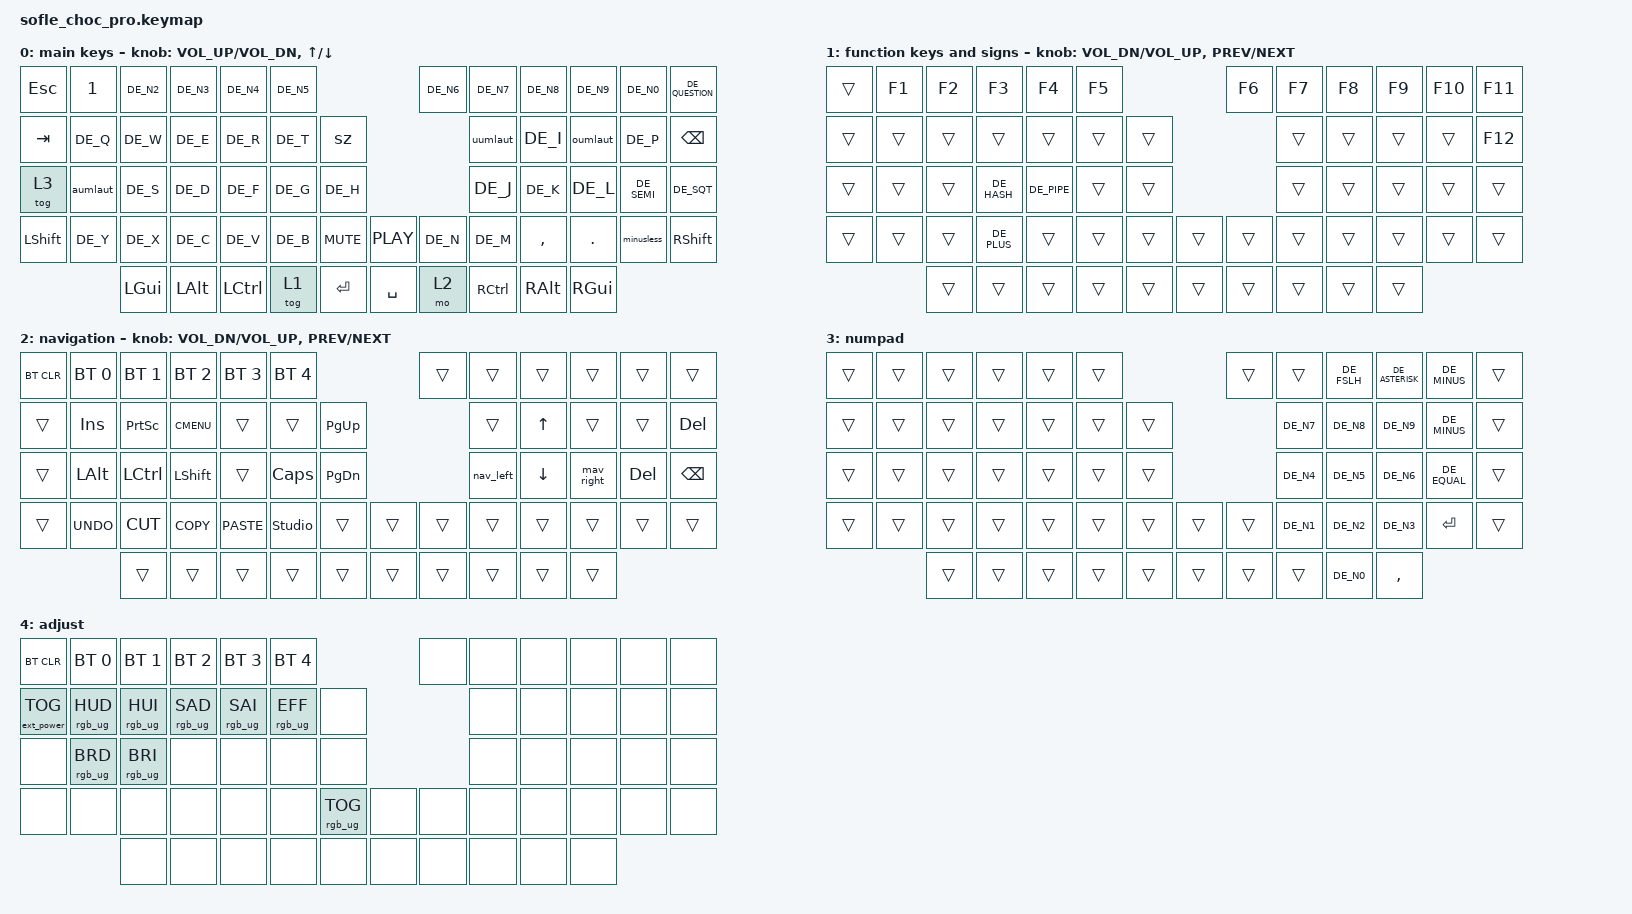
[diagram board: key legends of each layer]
/*
* Copyright (c) 2020 The ZMK Contributors
*
* SPDX-License-Identifier: MIT
*/

#include <behaviors.dtsi>
#include <dt-bindings/zmk/bt.h>
#include <dt-bindings/zmk/ext_power.h>
#include <dt-bindings/zmk/keys.h>
#include <dt-bindings/zmk/rgb.h>
#include "keys_de.h"

#define BASE 0
#define LOWER 1
#define RAISE 2
#define ADJUST 3

/ {
    // Activate ADJUST layer by pressing raise and lower

    conditional_layers {
        compatible = "zmk,conditional-layers";

        adjust_layer {
            if-layers = <1 2>;
            then-layer = <4>;
        };
    };

    behaviors {
        aumlaut: aumlaut {
            compatible = "zmk,behavior-tap-dance";
            label = "AUMLAUT";
            #binding-cells = <0>;
            bindings = <&kp DE_A>, <&kp DE_A_UMLAUT>;

            tapping-term-ms = <150>;
        };

        oumlaut: oumlaut {
            compatible = "zmk,behavior-tap-dance";
            label = "OUMLAUT";
            #binding-cells = <0>;
            bindings = <&kp DE_O>, <&kp DE_O_UMLAUT>;

            tapping-term-ms = <150>;
        };

        uumlaut: uumlaut {
            compatible = "zmk,behavior-tap-dance";
            label = "UUMLAUT";
            #binding-cells = <0>;
            bindings = <&kp DE_U>, <&kp DE_U_UMLAUT>;

            tapping-term-ms = <150>;
        };

        minusless: minusless {
            compatible = "zmk,behavior-tap-dance";
            label = "MINUSLESS";
            #binding-cells = <0>;
            bindings = <&kp DE_MINUS>, <&kp DE_LESS_THAN>;

            tapping-term-ms = <150>;
        };

        nav_left: nav_left {
            compatible = "zmk,behavior-tap-dance";
            label = "NAV_LEFT";
            #binding-cells = <0>;
            bindings =
                <&kp LEFT_ARROW>,
                <&kp LC(LEFT_ARROW)>,
                <&kp LG(LEFT_ARROW)>;

            tapping-term-ms = <150>;
        };

        mav_right: mav_right {
            compatible = "zmk,behavior-tap-dance";
            label = "MAV_RIGHT";
            #binding-cells = <0>;
            bindings =
                <&kp RIGHT_ARROW>,
                <&kp LC(RIGHT_ARROW)>,
                <&kp LG(RIGHT_ARROW)>;

            tapping-term-ms = <150>;
        };

        sz: sz {
            compatible = "zmk,behavior-tap-dance";
            label = "SZ";
            #binding-cells = <0>;
            bindings = <&kp DE_Z>, <&kp DE_SZ>;

            tapping-term-ms = <150>;
        };
    };

    keymap {
        compatible = "zmk,keymap";

        qwertz {
            display-name = "main keys";

            // ------------------------------------------------------------------------------------------------------------
            // |   `   |  1  |  2  |  3   |  4   |  5   |                   |  6   |  7    |  8    |  9   |   0   |   `   |
            // |  ESC  |  Q  |  W  |  E   |  R   |  T   |                   |  Y   |  U    |  I    |  O   |   P   | BKSPC |
            // |  TAB  |  A  |  S  |  D   |  F   |  G   |                   |  H   |  J    |  K    |  L   |   ;   |   '   |
            // | SHIFT |  Z  |  X  |  C   |  V   |  B   |  MUTE  |  | PLAY  |  N   |  M    |  ,    |  .   |   /   | SHIFT |
            //               | GUI | ALT  | CTRL | LOWER|  ENTER |  | SPACE | RAISE| CTRL  | ALT   | GUI  |

            bindings = <
&kp ESCAPE  &kp N1    &kp DE_N2  &kp DE_N3  &kp DE_N4  &kp DE_N5                          &kp DE_N6  &kp DE_N7  &kp DE_N8  &kp DE_N9  &kp DE_N0    &kp DE_QUESTION
&kp TAB     &kp DE_Q  &kp DE_W   &kp DE_E   &kp DE_R   &kp DE_T   &sz                                &uumlaut   &kp DE_I   &oumlaut   &kp DE_P     &kp BSPC
&tog 3      &aumlaut  &kp DE_S   &kp DE_D   &kp DE_F   &kp DE_G   &kp DE_H                           &kp DE_J   &kp DE_K   &kp DE_L   &kp DE_SEMI  &kp DE_SQT
&kp LSHFT   &kp DE_Y  &kp DE_X   &kp DE_C   &kp DE_V   &kp DE_B   &kp C_MUTE  &kp C_PLAY  &kp DE_N   &kp DE_M   &kp COMMA  &kp DOT    &minusless   &kp RSHFT
                      &kp LGUI   &kp LALT   &kp LCTRL  &tog 1     &kp RET     &kp SPACE   &mo 2      &kp RCTRL  &kp RALT   &kp RGUI
            >;

            sensor-bindings =
                <&inc_dec_kp C_VOLUME_UP C_VOL_DN>,
                <&inc_dec_kp UP_ARROW DOWN_ARROW>;
        };

        fnsigns {
            display-name = "function keys and signs";

            // ------------------------------------------------------------------------------------------------------------
            // |       |  F1 |  F2 |  F3  |  F4  |  F5  |                   |  F6  |  F7   |  F8   |  F9  |  F10  |  F11  |
            // |   `   |  1  |  2  |  3   |  4   |  5   |                   |  6   |  7    |  8    |  9   |   0   |  F12  |
            // |       |  !  |  @  |  #   |  $   |  %   |                   |  ^   |  &    |  *    |  (   |   )   |   |   |
            // |       |  =  |  -  |  +   |  {   |  }   |        |  |       |  [   |  ]    |  ;    |  :   |   \   |       |
            //               |     |      |      |      |        |  |       |      |       |       |      |

            bindings = <
&trans  &kp F1  &kp F2  &kp F3       &kp F4       &kp F5                  &kp F6  &kp F7  &kp F8  &kp F9  &kp F10  &kp F11
&trans  &trans  &trans  &trans       &trans       &trans  &trans                  &trans  &trans  &trans  &trans   &kp F12
&trans  &trans  &trans  &kp DE_HASH  &kp DE_PIPE  &trans  &trans                  &trans  &trans  &trans  &trans   &trans
&trans  &trans  &trans  &kp DE_PLUS  &trans       &trans  &trans  &trans  &trans  &trans  &trans  &trans  &trans   &trans
                &trans  &trans       &trans       &trans  &trans  &trans  &trans  &trans  &trans  &trans
            >;

            sensor-bindings = <&inc_dec_kp C_VOL_DN C_VOL_UP &inc_dec_kp C_PREV C_NEXT>;
        };

        navigation {
            display-name = "navigation";

            // ------------------------------------------------------------------------------------------------------------
            // | BTCLR | BT1  | BT2  |  BT3  |  BT4  |  BT5 |                |      |      |       |      |       |       |
            // |       | INS  | PSCR | GUI   |       |      |                | PGUP |      |   ^   |      |       |       |
            // |       | ALT  | CTRL | SHIFT |       | CAPS |                | PGDN |   <- |   v   |  ->  |  DEL  | BKSPC |
            // |       | UNDO | CUT  | COPY  | PASTE |      |      |  |      |      |      |       |      |       |       |
            //                |      |       |       |      |      |  |      |      |      |       |      |

            bindings = <
&bt BT_CLR  &bt BT_SEL 0  &bt BT_SEL 1  &bt BT_SEL 2  &bt BT_SEL 3  &bt BT_SEL 4                       &trans  &trans     &trans    &trans      &trans   &trans
&trans      &kp INS       &kp PSCRN     &kp K_CMENU   &trans        &trans          &kp PG_UP                  &trans     &kp UP    &trans      &trans   &kp DELETE
&trans      &kp LALT      &kp LCTRL     &kp LSHFT     &trans        &kp CLCK        &kp PG_DN                  &nav_left  &kp DOWN  &mav_right  &kp DEL  &kp BSPC
&trans      &kp K_UNDO    &kp K_CUT     &kp K_COPY    &kp K_PASTE   &studio_unlock  &trans     &trans  &trans  &trans     &trans    &trans      &trans   &trans
                          &trans        &trans        &trans        &trans          &trans     &trans  &trans  &trans     &trans    &trans
            >;

            sensor-bindings = <&inc_dec_kp C_VOL_DN C_VOL_UP &inc_dec_kp C_PREV C_NEXT>;
        };

        numpad {
            bindings = <
&trans  &trans  &trans  &trans  &trans  &trans                  &trans  &trans     &kp DE_FSLH  &kp DE_ASTERISK  &kp DE_MINUS  &trans
&trans  &trans  &trans  &trans  &trans  &trans  &trans                  &kp DE_N7  &kp DE_N8    &kp DE_N9        &kp DE_MINUS  &trans
&trans  &trans  &trans  &trans  &trans  &trans  &trans                  &kp DE_N4  &kp DE_N5    &kp DE_N6        &kp DE_EQUAL  &trans
&trans  &trans  &trans  &trans  &trans  &trans  &trans  &trans  &trans  &kp DE_N1  &kp DE_N2    &kp DE_N3        &kp ENTER     &trans
                &trans  &trans  &trans  &trans  &trans  &trans  &trans  &trans     &kp DE_N0    &kp COMMA
            >;
        };

        adjust_layer {
            // ----------------------------------------------------------------------------------------------------------------------------
            // | BTCLR  |  BT1    |  BT2    |   BT3   |   BT4   |   BT5   |                  |      |      |       |      |       |       |
            // | EXTPWR | RGB_HUD | RGB_HUI | RGB_SAD | RGB_SAI | RGB_EFF |                  |      |      |       |      |       |       |
            // |        | RGB_BRD | RGB_BRI |         |         |         |                  |      |      |       |      |       |       |
            // |        |         |         |         |         |         | RGB_TOG | |      |      |      |       |      |       |       |
            //                    |         |         |         |         |         | |      |      |      |       |      |

            display-name = "adjust";
            bindings = <
&bt BT_CLR         &bt BT_SEL 0     &bt BT_SEL 1     &bt BT_SEL 2     &bt BT_SEL 3     &bt BT_SEL 4                             &none  &none  &none  &none  &none  &none
&ext_power EP_TOG  &rgb_ug RGB_HUD  &rgb_ug RGB_HUI  &rgb_ug RGB_SAD  &rgb_ug RGB_SAI  &rgb_ug RGB_EFF  &none                          &none  &none  &none  &none  &none
&none              &rgb_ug RGB_BRD  &rgb_ug RGB_BRI  &none            &none            &none            &none                          &none  &none  &none  &none  &none
&none              &none            &none            &none            &none            &none            &rgb_ug RGB_TOG  &none  &none  &none  &none  &none  &none  &none
                                    &none            &none            &none            &none            &none            &none  &none  &none  &none  &none
            >;
        };
    };
};
